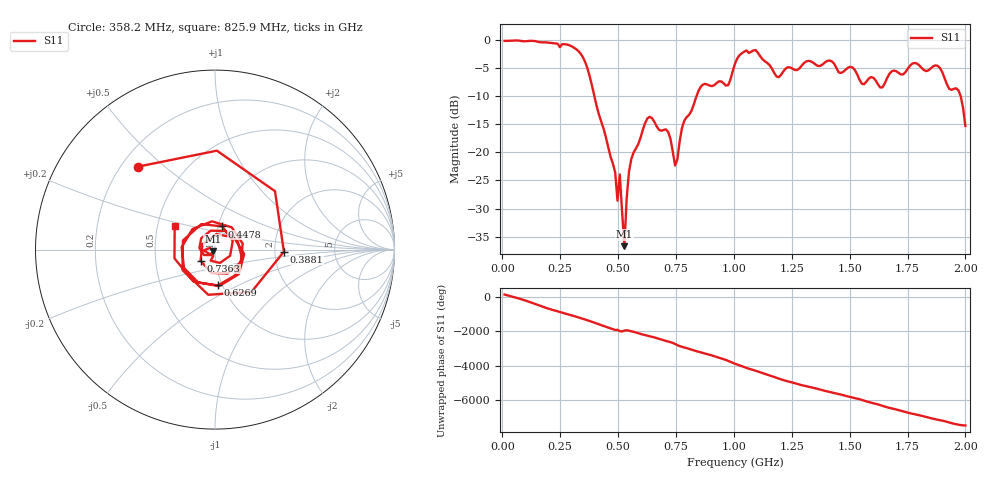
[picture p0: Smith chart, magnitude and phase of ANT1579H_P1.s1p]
!Created with skrf (http://scikit-rf.org).
# Hz S RI R 50.0
!freq ReS11 ImS11
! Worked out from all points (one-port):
!   201 points, 10 MHz to 2 GHz, reference 50 ohm
!   lowest |S11| = -36.7 dB at 527.4 MHz (marker M1), VSWR 1.03, Z = 48.8 - j0.828 ohm
!   |S11| at or under -10 dB: 397.3 MHz to 839.2 MHz (441.9 MHz wide, 71.5 % of centre); 1.979 GHz to end of sweep
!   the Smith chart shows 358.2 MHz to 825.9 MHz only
!   S11 on the Smith chart (normalised r, x): 358.2 MHz: 0.27, +0.41; 388.1 MHz: 2.25, -0.06; 447.8 MHz: 1.05, +0.28; 626.9 MHz: 0.95, -0.40; 736.4 MHz: 0.85, -0.10; 825.9 MHz: 0.61, +0.18
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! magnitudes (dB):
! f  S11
! 10 MHz  -0.2
! 258.8 MHz  -0.8
! 358.2 MHz  -4.0
! 388.1 MHz  -8.3
! 447.8 MHz  -17.4
! 487.6 MHz  -23.6
! 497.6 MHz  -28.6
! 507.5 MHz  -23.9
! 527.4 MHz  -36.7
! 547.3 MHz  -23.4
! 626.9 MHz  -14.0
! 716.5 MHz  -16.4
! 736.4 MHz  -19.9
! 756.2 MHz  -21.2
! 776.1 MHz  -15.7
! 825.9 MHz  -11.7
! 865.7 MHz  -8.0
! 975.1 MHz  -8.1
! 1.005 GHz  -4.3
! 1.095 GHz  -1.9
! 1.184 GHz  -6.5
! 1.254 GHz  -5.2
! 1.502 GHz  -4.8
! 1.632 GHz  -8.5
! 1.751 GHz  -5.2
! 1.891 GHz  -5.1
! 1.97 GHz  -9.0
! 2 GHz  -15.3
